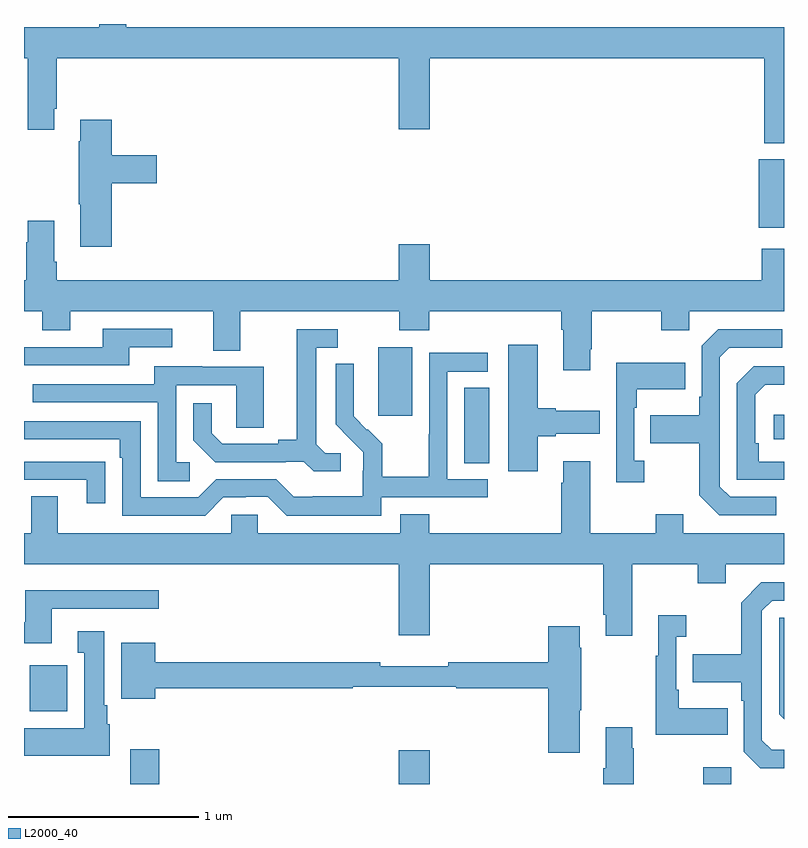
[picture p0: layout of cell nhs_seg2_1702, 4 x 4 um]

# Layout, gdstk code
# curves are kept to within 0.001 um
import gdstk
lib = gdstk.Library(unit=1e-6, precision=1e-09)
def R(c, l, rs):  # rectangles x0, y0, x1, y1
    for r in rs: c.add(gdstk.rectangle(r[:2], r[2:], *l))
def P(c, l, *ps):  # polygons
    for p in ps: c.add(gdstk.Polygon(p, *l))
L2000_40 = (2000, 40)

nhs_seg2_1702 = lib.new_cell('nhs_seg2_1702')
R(nhs_seg2_1702, L2000_40, [(199.559,659.8,199.712,659.983), (200.972,659.8,201.136,659.977), (202.576,659.8,202.722,659.887), (199.031,660.182,199.228,660.424), (201.317,661.489,201.448,661.886), (202.947,661.614,203,661.744), (200.864,661.737,201.043,662.098), (202.868,662.727,203,663.087)])
P(nhs_seg2_1702, L2000_40, [(203,663.784),(199.537,663.784),(199.537,663.8),(199.397,663.8),(199.397,663.784),(199,663.784),(199,663.62),(199.019,663.62),(199.019,663.243),(199.159,663.243),(199.159,663.355),(199.172,663.355),(199.172,663.62),(200.972,663.62),(200.972,663.246),(201.136,663.246),(201.136,663.62),(202.896,663.62),(202.896,663.172),(203,663.172)],
  [(199.463,662.963),(199.699,662.963),(199.699,663.11),(199.463,663.11),(199.463,663.295),(199.295,663.295),(199.295,663.182),(199.288,663.182),(199.288,662.851),(199.295,662.851),(199.295,662.628),(199.463,662.628)],
  [(201.979,662.089),(201.987,662.089),(201.987,662.288),(202.354,662.288),(202.354,662.189),(202.5,662.189),(202.5,662.288),(203,662.288),(203,662.617),(202.883,662.617),(202.883,662.452),(201.136,662.452),(201.136,662.641),(200.972,662.641),(200.972,662.452),(199.172,662.452),(199.172,662.548),(199.159,662.548),(199.159,662.764),(199.019,662.764),(199.019,662.651),(199.012,662.651),(199.012,662.452),(199,662.452),(199,662.288),(199.096,662.288),(199.096,662.189),(199.243,662.189),(199.243,662.288),(199.997,662.288),(199.997,662.08),(200.137,662.08),(200.137,662.288),(200.974,662.288),(200.974,662.189),(201.134,662.189),(201.134,662.288),(201.827,662.288),(201.827,662.192),(201.839,662.192),(201.839,661.977),(201.979,661.977)],
  [(199.555,662.1),(199.78,662.1),(199.78,662.196),(199.415,662.196),(199.415,662.1),(199,662.1),(199,662.004),(199.555,662.004)],
  [(200.668,661.542),(200.586,661.542),(200.539,661.589),(200.539,662.097),(200.65,662.097),(200.65,662.193),(200.435,662.193),(200.435,661.613),(200.339,661.613),(200.339,661.59),(200.044,661.59),(199.987,661.647),(199.987,661.804),(199.89,661.804),(199.89,661.61),(200.006,661.494),(200.378,661.494),(200.378,661.497),(200.472,661.497),(200.524,661.445),(200.668,661.445)],
  [(202.96,661.311),(202.716,661.311),(202.662,661.365),(202.662,662.046),(202.713,662.097),(202.99,662.097),(202.99,662.193),(202.653,662.193),(202.566,662.106),(202.566,661.837),(202.554,661.837),(202.554,661.741),(202.297,661.741),(202.297,661.594),(202.554,661.594),(202.554,661.321),(202.659,661.215),(202.96,661.215)],
  [(201.703,661.631),(201.799,661.631),(201.799,661.643),(202.03,661.643),(202.03,661.765),(201.799,661.765),(201.799,661.778),(201.703,661.778),(201.703,662.113),(201.548,662.113),(201.548,661.446),(201.703,661.446)],
  [(200.88,661.308),(201.442,661.308),(201.442,661.404),(201.228,661.404),(201.228,661.971),(201.442,661.971),(201.442,662.07),(201.132,662.07),(201.132,661.64),(201.13,661.64),(201.13,661.417),(200.885,661.417),(200.885,661.591),(200.808,661.668),(200.805,661.665),(200.735,661.736),(200.736,662.012),(200.64,662.012),(200.64,661.694),(200.786,661.546),(200.786,661.449),(200.784,661.449),(200.784,661.315),(200.521,661.315),(200.521,661.311),(200.421,661.311),(200.328,661.404),(200.013,661.404),(199.917,661.308),(199.614,661.308),(199.614,661.71),(199,661.71),(199,661.614),(199.505,661.614),(199.505,661.517),(199.518,661.517),(199.518,661.212),(199.953,661.212),(200.049,661.308),(200.168,661.308),(200.168,661.311),(200.283,661.311),(200.383,661.211),(200.88,661.211)],
  [(202.264,661.502),(202.212,661.502),(202.212,661.781),(202.225,661.781),(202.225,661.877),(202.481,661.877),(202.481,662.017),(202.116,662.017),(202.116,661.389),(202.264,661.389)],
  [(199.873,661.494),(199.8,661.494),(199.8,661.899),(200.118,661.899),(200.118,661.675),(200.263,661.675),(200.263,661.995),(199.939,661.995),(199.939,661.999),(199.685,661.999),(199.685,661.905),(199.045,661.905),(199.045,661.809),(199.704,661.809),(199.704,661.393),(199.873,661.393)],
  [(203,661.497),(202.868,661.497),(202.868,661.594),(202.848,661.594),(202.848,661.848),(202.901,661.901),(203,661.901),(203,661.998),(202.842,661.998),(202.752,661.908),(202.752,661.401),(203,661.401)],
  [(202.201,660.956),(202.546,660.956),(202.546,660.857),(202.693,660.857),(202.693,660.956),(203,660.956),(203,661.12),(202.471,661.12),(202.471,661.219),(202.324,661.219),(202.324,661.12),(201.979,661.12),(201.979,661.498),(201.839,661.498),(201.839,661.385),(201.827,661.385),(201.827,661.12),(201.134,661.12),(201.134,661.219),(200.981,661.219),(200.981,661.12),(200.229,661.12),(200.229,661.218),(200.091,661.218),(200.091,661.12),(199.177,661.12),(199.177,661.315),(199.037,661.315),(199.037,661.12),(199,661.12),(199,660.956),(200.972,660.956),(200.972,660.582),(201.136,660.582),(201.136,660.956),(202.049,660.956),(202.049,660.691),(202.061,660.691),(202.061,660.579),(202.201,660.579)],
  [(199.427,661.496),(199.325,661.496),(199.325,661.497),(199,661.497),(199,661.401),(199.331,661.401),(199.331,661.278),(199.427,661.278)],
  [(203,659.979),(202.935,659.979),(202.884,660.03),(202.884,660.711),(202.938,660.765),(203,660.765),(203,660.861),(202.881,660.861),(202.776,660.755),(202.776,660.483),(202.519,660.483),(202.519,660.335),(202.776,660.335),(202.776,660.239),(202.788,660.239),(202.788,659.97),(202.875,659.883),(203,659.883)],
  [(199.147,660.723),(199.708,660.723),(199.708,660.82),(199.007,660.82),(199.007,660.652),(199,660.652),(199,660.542),(199.147,660.542)],
  [(202.703,660.199),(202.447,660.199),(202.447,660.295),(202.434,660.295),(202.434,660.575),(202.486,660.575),(202.486,660.688),(202.337,660.688),(202.337,660.475),(202.326,660.475),(202.326,660.059),(202.703,660.059)],
  [(203,660.675),(202.974,660.675),(202.974,660.168),(203,660.142)],
  [(201.925,660.187),(201.933,660.187),(201.933,660.518),(201.925,660.518),(201.925,660.631),(201.758,660.631),(201.758,660.44),(201.232,660.44),(201.232,660.421),(200.876,660.421),(200.876,660.44),(199.69,660.44),(199.69,660.544),(199.511,660.544),(199.511,660.248),(199.69,660.248),(199.69,660.304),(200.73,660.304),(200.73,660.312),(201.274,660.312),(201.274,660.304),(201.758,660.304),(201.758,659.964),(201.925,659.964)],
  [(199.45,660.114),(199.438,660.114),(199.438,660.214),(199.423,660.214),(199.423,660.604),(199.283,660.604),(199.283,660.491),(199.316,660.491),(199.316,660.094),(199,660.094),(199,659.948),(199.45,659.948)],
  [(202.209,659.987),(202.201,659.987),(202.201,660.1),(202.061,660.1),(202.061,659.884),(202.049,659.884),(202.049,659.8),(202.209,659.8)])

lib.write_gds('nhs_seg2_1702.gds')
